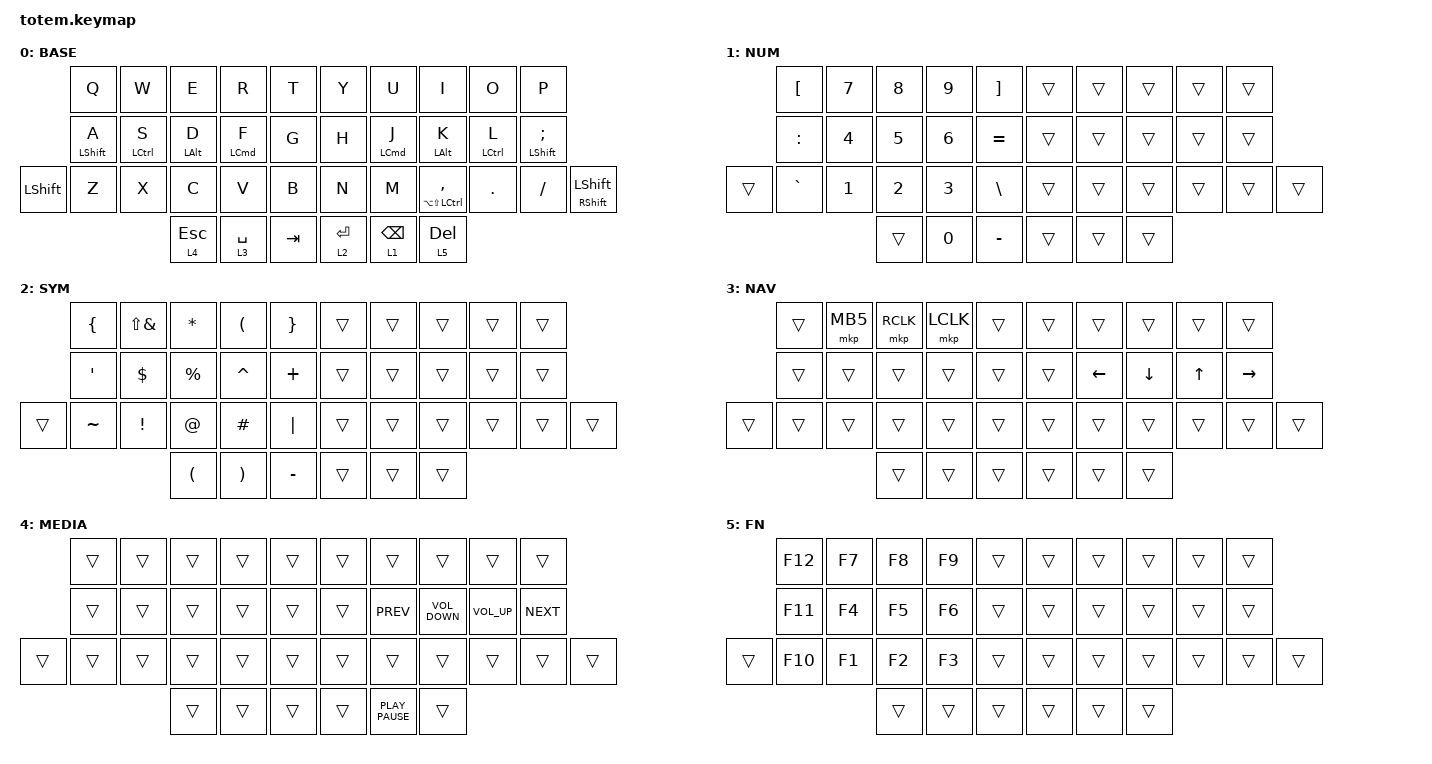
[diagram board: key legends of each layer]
//
//                                                        ▀▀▀▀▀     ▀▀▀▀▀          ▀▀█▀▀
//                                                        ▄▀▀▀▄  ▄  ▄▀▀▀▄  ▄  ▄▀▀▀▄  █  ▄▀▀▀▄
//                                                        █   █  █  █   █  █  █   █  █  █   █
//                                                         ▀▀▀   █   ▀▀▀   █   ▀▀▀   ▀   ▀▀▀
//                                                               █      ▄▄▄█▄▄▄    █   █
//                                                               ▀      █  █  █     █▄█
//                                                             ▀▀▀▀▀    █  █  █      ▀
//                                                                      ▀  ▀  ▀
//
// ▄▄▄▄▄▄▄▄▄▄▄▄▄▄▄▄▄▄▄▄▄▄▄▄▄▄▄▄▄▄▄▄▄▄▄▄▄▄▄▄▄▄▄▄▄▄▄▄▄▄▄▄▄▄▄▄▄▄▄▄▄▄▄▄▄▄▄▄▄▄▄▄▄▄▄▄▄▄▄▄▄▄▄▄▄▄▄▄▄▄▄▄▄▄▄▄▄▄▄▄▄▄▄▄▄▄▄▄▄▄▄▄▄▄▄▄▄▄▄▄▄▄▄▄▄▄▄▄▄▄▄▄▄▄▄▄▄▄▄▄▄▄▄▄▄▄▄▄▄

#include <behaviors.dtsi>
#include <dt-bindings/zmk/keys.h>
#include <dt-bindings/zmk/pointing.h>

#define BASE 0
#define NAV  1
#define SYM  2
#define FUN  3
#define TVP1 4
#define TVP2 5

&mt {
    quick-tap-ms = <100>;
    global-quick-tap;
    flavor = "tap-preferred";
    tapping-term-ms = <170>;
};

/ {
    behaviors {
        hml: home_row_mod_left {
            compatible = "zmk,behavior-hold-tap";
            #binding-cells = <2>;
            flavor = "balanced";
            require-prior-idle-ms = <150>;
            tapping-term-ms = <280>;
            quick-tap-ms = <175>;
            bindings = <&kp>, <&kp>;

            hold-trigger-key-positions = <5 6 7 8 9 15 16 17 18 19 26 27 28 29 30 31>; // List of keys on the right side of the keyboard
            hold-trigger-on-release;
        };

        hmr: home_row_mod_right {
            compatible = "zmk,behavior-hold-tap";
            #binding-cells = <2>;
            flavor = "balanced";
            require-prior-idle-ms = <150>;
            tapping-term-ms = <280>;
            quick-tap-ms = <175>;
            bindings = <&kp>, <&kp>;

            hold-trigger-key-positions = <0 1 2 3 4 10 11 12 13 14 20 21 22 23 24 25>; // List of keys on the left side of the keyboard
            hold-trigger-on-release;
        };
    };
};

/ {
    combos {
        compatible = "zmk,combos";

        combo_esc {
            timeout-ms = <50>;
            key-positions = <0 1>;
            bindings = <&kp ESC>;
        };

        capsword {
            bindings = <&caps_word>;
            key-positions = <20 31>;
        };

        quote {
            bindings = <&kp SQT>;
            key-positions = <30 29>;
        };
    };

    keymap {
        compatible = "zmk,keymap";

        // ▄▄▄▄▄▄▄▄▄▄▄▄▄▄▄▄▄▄▄▄▄▄▄▄▄▄▄▄▄▄▄▄▄▄▄▄▄▄▄▄▄▄▄▄▄▄▄▄▄▄▄▄▄▄▄▄▄▄▄▄▄▄▄▄▄▄▄▄▄▄▄▄▄▄▄▄▄▄▄▄▄▄▄▄▄▄▄▄▄▄▄▄▄▄▄▄▄▄▄▄▄▄▄▄▄▄▄▄▄▄▄▄▄▄▄▄▄▄▄▄▄▄▄▄▄▄▄▄▄▄▄▄▄▄▄▄▄▄▄▄▄▄▄▄▄▄▄▄▄

        base_layer {
            // ┏━━━━━━━━━━━━━━━━━━━━━━━━━━━━━━━━━━━━━━━┓

            label = "BASE";

            // ┗━━━━━━━━━━━━━━━━━━━━━━━━━━━━━━━━━━━━━━━┛
            //             ┏━━━━━━━━━━━┳━━━━━━━━━━━┳━━━━━━━━━━━┳━━━━━━━━━━━┳━━━━━━━━━━━┓   ┏━━━━━━━━━━━┳━━━━━━━━━━━┳━━━━━━━━━━━┳━━━━━━━━━━━┳━━━━━━━━━━━┓
            //             ┃     Q     ┃     W     ┃     F     ┃     P     ┃     B     ┃   ┃     J     ┃     L     ┃     U     ┃     Y     ┃     ;     ┃
            //             ┣━━━━━━━━━━━╋━━━━━━━━━━━╋━━━━━━━━━━━╋━━━━━━━━━━━╋━━━━━━━━━━━┫   ┣━━━━━━━━━━━╋━━━━━━━━━━━╋━━━━━━━━━━━╋━━━━━━━━━━━╋━━━━━━━━━━━┫
            //             ┃     A     ┃     R     ┃     S     ┃     T     ┃     G     ┃   ┃     H     ┃     N     ┃     E     ┃     I     ┃     O     ┃
            // ┏━━━━━━━━━━━╋━━━━━━━━━━━╋━━━━━━━━━━━╋━━━━━━━━━━━╋━━━━━━━━━━━╋━━━━━━━━━━━┫   ┣━━━━━━━━━━━╋━━━━━━━━━━━╋━━━━━━━━━━━╋━━━━━━━━━━━╋━━━━━━━━━━━╋━━━━━━━━━━━┓
            // ┃   SHIFT   ┃     Z     ┃     X     ┃     C     ┃     D     ┃     V     ┃   ┃     K     ┃     M     ┃     ,     ┃     .     ┃     /     ┃   SHIFT   ┃
            // ┗━━━━━━━━━━━┻━━━━━━━━━━━┻━━━━━━━━━━━╋━━━━━━━━━━━╋━━━━━━━━━━━╋━━━━━━━━━━━┫   ┣━━━━━━━━━━━╋━━━━━━━━━━━╋━━━━━━━━━━━╋━━━━━━━━━━━┻━━━━━━━━━━━┻━━━━━━━━━━━┛
            //                                     ┃    ESC    ┃    TAB    ┃    SPC    ┃   ┃    BSPC   ┃   ENTER   ┃    DEL    ┃
            //                                     ┗━━━━━━━━━━━┻━━━━━━━━━━━┻━━━━━━━━━━━┛   ┗━━━━━━━━━━━┻━━━━━━━━━━━┻━━━━━━━━━━━┛

            bindings = <
            &kp Q              &kp W                &kp E        &kp R                &kp T      &kp Y      &kp U                &kp I                     &kp O                &kp P
            &hml LEFT_SHIFT A  &hml LEFT_CONTROL S  &hml LALT D  &hml LEFT_COMMAND F  &kp G      &kp H      &hmr LEFT_COMMAND J  &hmr LALT K               &hmr LEFT_CONTROL L  &hmr LEFT_SHIFT SEMICOLON
&kp LSHIFT  &kp Z              &kp X                &kp C        &kp V                &kp B      &kp N      &kp M                &hmr LA(LS(LCTRL)) COMMA  &kp DOT              &kp FSLH                   &mt RSHIFT LSHFT
                                                    &lt 4 ESC    &lt 3 SPACE          &kp TAB    &lt 2 RET  &lt 1 BACKSPACE      &lt 5 DEL
            >;
        };

        // ▄▄▄▄▄▄▄▄▄▄▄▄▄▄▄▄▄▄▄▄▄▄▄▄▄▄▄▄▄▄▄▄▄▄▄▄▄▄▄▄▄▄▄▄▄▄▄▄▄▄▄▄▄▄▄▄▄▄▄▄▄▄▄▄▄▄▄▄▄▄▄▄▄▄▄▄▄▄▄▄▄▄▄▄▄▄▄▄▄▄▄▄▄▄▄▄▄▄▄▄▄▄▄▄▄▄▄▄▄▄▄▄▄▄▄▄▄▄▄▄▄▄▄▄▄▄▄▄▄▄▄▄▄▄▄▄▄▄▄▄▄▄▄▄▄▄▄▄▄
        // ▄▄▄▄▄▄▄▄▄▄▄▄▄▄▄▄▄▄▄▄▄▄▄▄▄▄▄▄▄▄▄▄▄▄▄▄▄▄▄▄▄▄▄▄▄▄▄▄▄▄▄▄▄▄▄▄▄▄▄▄▄▄▄▄▄▄▄▄▄▄▄▄▄▄▄▄▄▄▄▄▄▄▄▄▄▄▄▄▄▄▄▄▄▄▄▄▄▄▄▄▄▄▄▄▄▄▄▄▄▄▄▄▄▄▄▄▄▄▄▄▄▄▄▄▄▄▄▄▄▄▄▄▄▄▄▄▄▄▄▄▄▄▄▄▄▄▄▄▄
        // ▄▄▄▄▄▄▄▄▄▄▄▄▄▄▄▄▄▄▄▄▄▄▄▄▄▄▄▄▄▄▄▄▄▄▄▄▄▄▄▄▄▄▄▄▄▄▄▄▄▄▄▄▄▄▄▄▄▄▄▄▄▄▄▄▄▄▄▄▄▄▄▄▄▄▄▄▄▄▄▄▄▄▄▄▄▄▄▄▄▄▄▄▄▄▄▄▄▄▄▄▄▄▄▄▄▄▄▄▄▄▄▄▄▄▄▄▄▄▄▄▄▄▄▄▄▄▄▄▄▄▄▄▄▄▄▄▄▄▄▄▄▄▄▄▄▄▄▄▄
        // ▄▄▄▄▄▄▄▄▄▄▄▄▄▄▄▄▄▄▄▄▄▄▄▄▄▄▄▄▄▄▄▄▄▄▄▄▄▄▄▄▄▄▄▄▄▄▄▄▄▄▄▄▄▄▄▄▄▄▄▄▄▄▄▄▄▄▄▄▄▄▄▄▄▄▄▄▄▄▄▄▄▄▄▄▄▄▄▄▄▄▄▄▄▄▄▄▄▄▄▄▄▄▄▄▄▄▄▄▄▄▄▄▄▄▄▄▄▄▄▄▄▄▄▄▄▄▄▄▄▄▄▄▄▄▄▄▄▄▄▄▄▄▄▄▄▄▄▄▄
        // ▄▄▄▄▄▄▄▄▄▄▄▄▄▄▄▄▄▄▄▄▄▄▄▄▄▄▄▄▄▄▄▄▄▄▄▄▄▄▄▄▄▄▄▄▄▄▄▄▄▄▄▄▄▄▄▄▄▄▄▄▄▄▄▄▄▄▄▄▄▄▄▄▄▄▄▄▄▄▄▄▄▄▄▄▄▄▄▄▄▄▄▄▄▄▄▄▄▄▄▄▄▄▄▄▄▄▄▄▄▄▄▄▄▄▄▄▄▄▄▄▄▄▄▄▄▄▄▄▄▄▄▄▄▄▄▄▄▄▄▄▄▄▄▄▄▄▄▄▄

        NUM {
            bindings = <
        &kp LBKT   &kp N7  &kp N8  &kp N9  &kp RBKT     &trans  &trans  &trans  &trans  &trans
        &kp COLON  &kp N4  &kp N5  &kp N6  &kp EQUAL    &trans  &trans  &trans  &trans  &trans
&trans  &kp GRAVE  &kp N1  &kp N2  &kp N3  &kp BSLH     &trans  &trans  &trans  &trans  &trans  &trans
                           &trans  &kp N0  &kp MINUS    &trans  &trans  &trans
            >;
        };

        SYM {
            bindings = <
        &kp LEFT_BRACE  &kp LS(AMPS)  &kp ASTRK             &kp LEFT_PARENTHESIS   &kp RIGHT_BRACE    &trans  &trans  &trans  &trans  &trans
        &kp SQT         &kp DOLLAR    &kp PERCENT           &kp CARET              &kp PLUS           &trans  &trans  &trans  &trans  &trans
&trans  &kp TILDE       &kp EXCL      &kp AT                &kp HASH               &kp PIPE           &trans  &trans  &trans  &trans  &trans  &trans
                                      &kp LEFT_PARENTHESIS  &kp RIGHT_PARENTHESIS  &kp MINUS          &trans  &trans  &trans
            >;
        };

        NAV {
            bindings = <
        &trans  &mkp MB5  &mkp RCLK  &mkp LCLK  &trans    &trans  &trans    &trans    &trans  &trans
        &trans  &trans    &trans     &trans     &trans    &trans  &kp LEFT  &kp DOWN  &kp UP  &kp RIGHT
&trans  &trans  &trans    &trans     &trans     &trans    &trans  &trans    &trans    &trans  &trans     &trans
                          &trans     &trans     &trans    &trans  &trans    &trans
            >;
        };

        MEDIA {
            bindings = <
        &trans  &trans  &trans  &trans  &trans    &trans  &trans            &trans             &trans           &trans
        &trans  &trans  &trans  &trans  &trans    &trans  &kp K_PREV        &kp K_VOLUME_DOWN  &kp K_VOLUME_UP  &kp K_NEXT
&trans  &trans  &trans  &trans  &trans  &trans    &trans  &trans            &trans             &trans           &trans      &trans
                        &trans  &trans  &trans    &trans  &kp K_PLAY_PAUSE  &trans
            >;
        };

        FN {
            bindings = <
        &kp F12  &kp F7  &kp F8  &kp F9  &trans    &trans  &trans  &trans  &trans  &trans
        &kp F11  &kp F4  &kp F5  &kp F6  &trans    &trans  &trans  &trans  &trans  &trans
&trans  &kp F10  &kp F1  &kp F2  &kp F3  &trans    &trans  &trans  &trans  &trans  &trans  &trans
                         &trans  &trans  &trans    &trans  &trans  &trans
            >;
        };
    };
};
